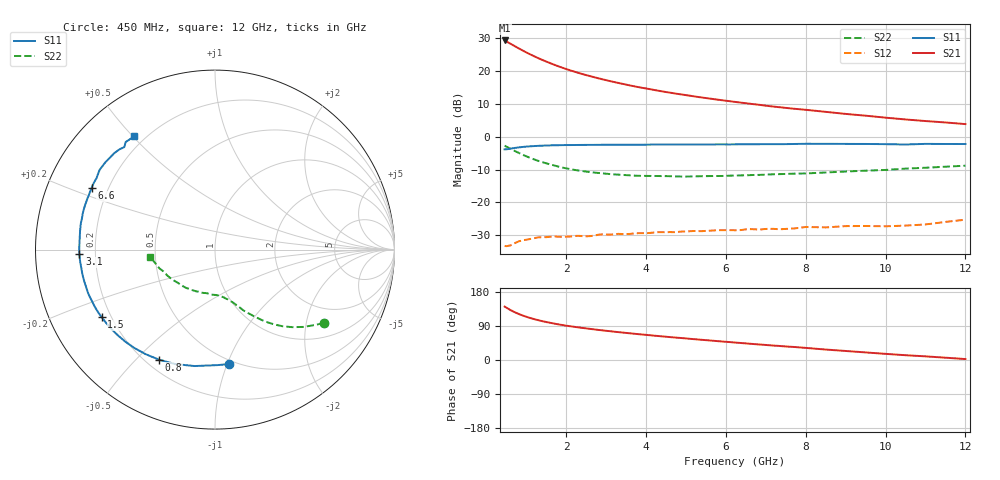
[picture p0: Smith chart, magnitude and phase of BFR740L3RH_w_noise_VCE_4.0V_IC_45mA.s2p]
! (c) 2012  Infineon Technologies AG, Munich
! Infineon Technologies  Discrete & RF Semiconductors
! BFR740L3RH
! VCE =  4.0 V,  IC =  45 mA
! Common Emitter S-Parameters:  May 2012
# GHz  S  MA  R  50
!  f  S11  S21  S12  S22
! GHz  MAG  ANG  MAG  ANG  MAG  ANG  MAG  ANG
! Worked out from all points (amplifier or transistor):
!   85 points, 450 MHz to 12 GHz, reference 50 ohm
!   highest |S21| = 29.4 dB at 450 MHz (marker M1)
!   |S21| within 3 dB of that: start of sweep to 892 MHz
!   unconditionally stable (mu >= 1): 4.126 GHz to end of sweep
!   at 1.8 GHz: K = 0.48, MSG = 26.0 dB, |S12| = -30.5 dB
!   at 4.6 GHz: K = 1.09, MAG = 19.4 dB, |S12| = -29.1 dB
!   at 12 GHz: K = 2.11, MAG = 8.6 dB, |S12| = -25.3 dB
!   lowest NFmin = 1.51 dB at 450 MHz
!   S11 on the Smith chart (normalised r, x): 450 MHz: 0.47, -1.02; 800 MHz: 0.25, -0.59; 1.5 GHz: 0.16, -0.27; 3.1 GHz: 0.14, -0.02; 6.6 GHz: 0.14, +0.23; 12 GHz: 0.16, +0.51
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0.45  0.6426 -82.9  29.51 140.9  0.0215 43.2  0.7313 -33.9
0.5  0.6438 -88.9  28.36 137.7  0.0214 46.2  0.7048 -36.4
0.6  0.6586 -99.9  26.24 131.6  0.022 46.8  0.6552 -41.1
0.7  0.6752 -109.2  24.25 126.3  0.0237 42.6  0.6101 -45.1
0.8  0.6879 -116.9  22.41 121.6  0.0253 38.7  0.5695 -48.6
0.9  0.699 -123.5  20.77 117.5  0.0263 35.8  0.5333 -51.5
1  0.7085 -129.2  19.3 113.9  0.0269 34.5  0.5016 -54.0
1.1  0.716 -134.2  18 110.6  0.0276 33.6  0.4738 -56.2
1.3  0.7272 -142.5  15.78 104.9  0.0292 30.5  0.4277 -59.9
1.5  0.7352 -149.2  14.01 100.1  0.0294 29.1  0.3922 -63.1
1.7  0.7418 -154.7  12.52 95.9  0.0301 26.6  0.3639 -65.8
1.9  0.7459 -159.4  11.31 92.2  0.0297 26.3  0.3387 -68.0
2.4  0.751 -168.5  9.057 84.7  0.0304 26.6  0.2998 -73.2
3.1  0.7561 -178.0  7.06 75.9  0.0321 25.9  0.2692 -80.0
3.6  0.7564 176.5  6.062 70.3  0.033 26.0  0.2575 -85.5
4.3  0.76 170.4  5.051 63.3  0.035 27.0  0.2518 -93.0
5.3  0.7648 162.4  4.051 54.1  0.0363 27.9  0.2494 -104.3
6.3  0.767 155.4  3.363 45.4  0.0373 29.9  0.2566 -116.7
6.6  0.7681 153.5  3.192 42.9  0.039 30.2  0.2598 -120.2
8.5  0.7809 141.6  2.401 27.6  0.0414 32.7  0.285 -142.3
10.5  0.7626 131.5  1.838 12.6  0.0441 38.2  0.3268 -161.3
12  0.7755 125.4  1.562 2.5  0.0543 44.8  0.362 -173.6
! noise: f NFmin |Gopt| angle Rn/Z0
0.45  1.51  0.26  180  0.12
0.9  1.55  0.26  180  0.11
1.5  1.64  0.28  180  0.11
1.9  1.72  0.29  -179  0.12
2.4  1.83  0.31  -176  0.12
3.5  2.12  0.34  -172  0.12
5.5  2.68  0.43  -158  0.15
8  3.35  0.46  -146  0.28
10  3.84  0.54  -130  0.47
12  4.29  0.57  -119  0.8
